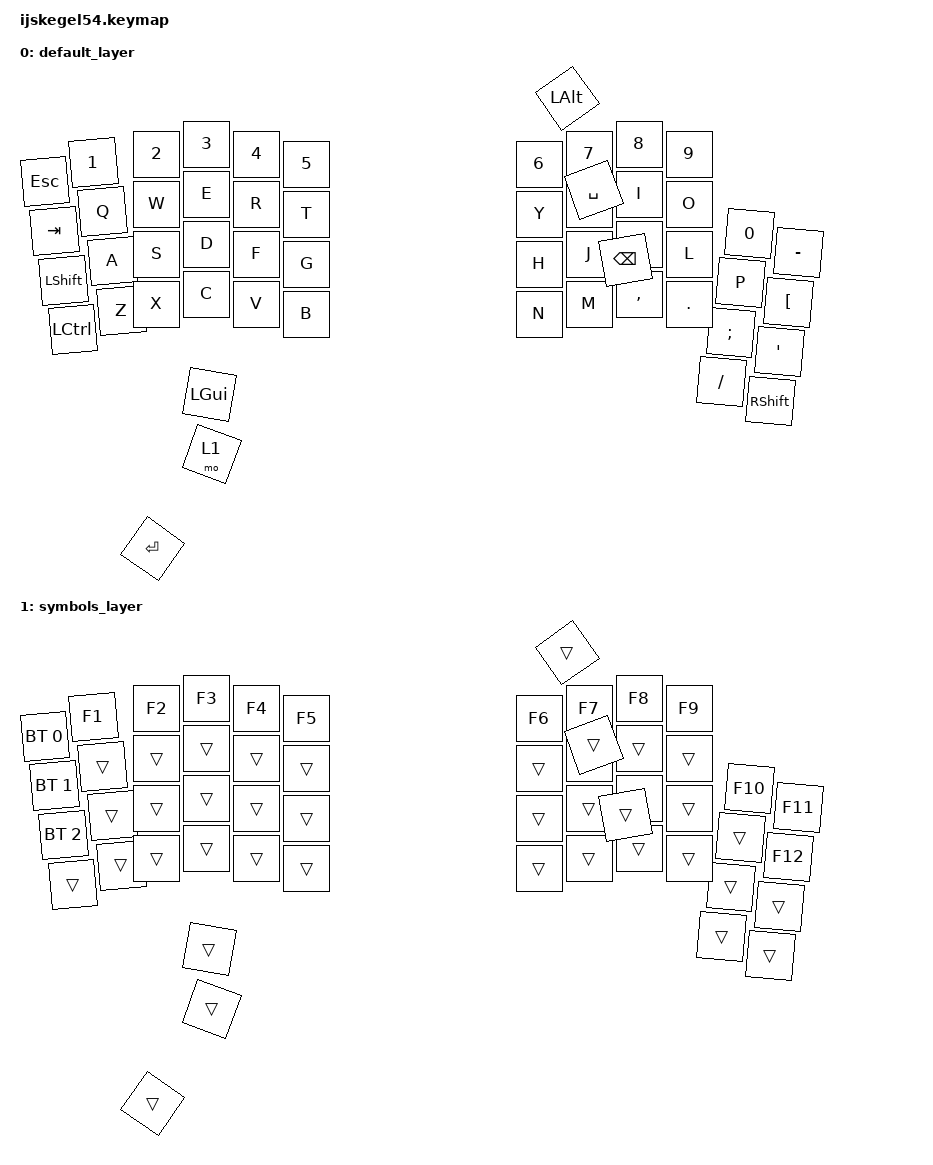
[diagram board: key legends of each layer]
#include <behaviors.dtsi>
#include <dt-bindings/zmk/keys.h>
#include <dt-bindings/zmk/bt.h>

/ {
    keymap {
        compatible = "zmk,keymap";


        default_layer {
            //-----------------------------------------------   ------------------------------------------------
            //  ESC |   1   |   2   |   3   |   4   |   5   |   |   6   |   7   |   8   |   9   |   0   |   -   |
            //  TAB |   Q   |   W   |   E   |   R   |   T   |   |   Y   |   U   |   I   |   O   |   P   |   [   |
            // SHIFT|   A   |   S   |   D   |   F   |   G   |   |   H   |   J   |   K   |   L   |   ;   |   '   |
            //  CTL |   Z   |   X   |   C   |   V   |   B   |   |   N   |   M   |   ,   |   .   |   /   | SHIFT |
            //                      | SUPER | SYMBL | ENTER |   |  ALT  | SPACE | BKSPCE|

            bindings = <
                &kp ESC &kp N1 &kp N2 &kp N3 &kp N4 &kp N5 &kp N6 &kp N7 &kp N8 &kp N9 &kp N0 &kp MINUS
                &kp TAB &kp Q &kp W &kp E &kp R &kp T &kp Y &kp U &kp I &kp O &kp P &kp LEFT_BRACKET
                &kp LSHIFT &kp A &kp S &kp D &kp F &kp G &kp H &kp J &kp K &kp L &kp SEMICOLON &kp SINGLE_QUOTE
                &kp LCTRL &kp Z &kp X &kp C &kp V &kp B &kp N &kp M &kp COMMA &kp DOT &kp SLASH &kp RSHIFT
                &kp LGUI &mo 1 &kp ENTER &kp LALT &kp SPACE &kp BACKSPACE
            >;
        };

            //-----------------------------------------------------------------------------------------------
            //   F1 |   F2  |   F3  |   F4  |   F5  |   F6  |   F7  |   F8  |  F9   |  F10  |  F11  |  F12  |
            // BT 0 |  BT 1 |  HOME |   UP  |  END  | PG_UP |  +/*  |   {   |   }   |       |       | BTCLR |
            //      |  BT 2 |  LEFT |  DOWN | RIGHT | PG_DN |  #/'  |   (   |   )   |       |       |       |
            //      |   |   |       |   <   |   >   |       |  ^/°   |   [   |   ]   |       |       |STIOULK|
            //                      |       |       |       |  RALT |       |  DEL  |
            // bindings = <
            //     &kp F1 &kp F2 &kp F3 &kp F4 &kp F5 &kp F6 &kp F7 &kp F8 &kp F9 &kp F10 &kp F11 &kp F12
            //     &bt BT_SEL 0 &bt BT_SEL 1 &kp HOME &kp UP &kp END &kp PG_UP &kp RBKT &kp RA(N7) &kp RA(N0) &trans &trans &bt BT_CLR
            //     &trans &bt BT_SEL 2 &kp LEFT &kp DOWN &kp RIGHT &kp PG_DN &kp NUHS &kp LS(N8) &kp LS(N9) &trans &trans &trans
            //     &trans &kp RA(NUBS) &trans &kp NUBS &kp LS(NUBS) &trans &kp GRAVE &kp RA(N8) &kp RA(N9) &trans &trans &studio_unlock
            //     &trans &trans &trans                                    &kp RALT &trans &kp DEL

        symbols_layer {
            //-----------------------------------------------   ------------------------------------------------
            // BT 0 |   F1  |   F2  |   F3  |   F4  |   F5  |   |   F6  |   F7  |  F8   |  F9   |  F10  |  F11  |
            // BT 1 |       |       |       |       |       |   |       |       |       |       |       |  F12  |
            // BT 2 |       |       |       |       |       |   |       |       |       |       |       |       |
            //      |       |       |       |       |       |   |       |       |       |       |       |       |
            //                      |       |       |       |   |       |       |       |

            bindings = <
                &bt BT_SEL 0 &kp F1 &kp F2 &kp F3 &kp F4 &kp F5     &kp F6 &kp F7 &kp F8 &kp F9 &kp F10 &kp F11
                &bt BT_SEL 1 &trans &trans &trans &trans &trans     &trans &trans &trans &trans &trans  &kp F12
                &bt BT_SEL 2 &trans &trans &trans &trans &trans     &trans &trans &trans &trans &trans  &trans
                &trans       &trans &trans &trans &trans &trans     &trans &trans &trans &trans &trans  &trans
                                           &trans &trans &trans     &trans &trans &trans
            >;
        };
    };
};
